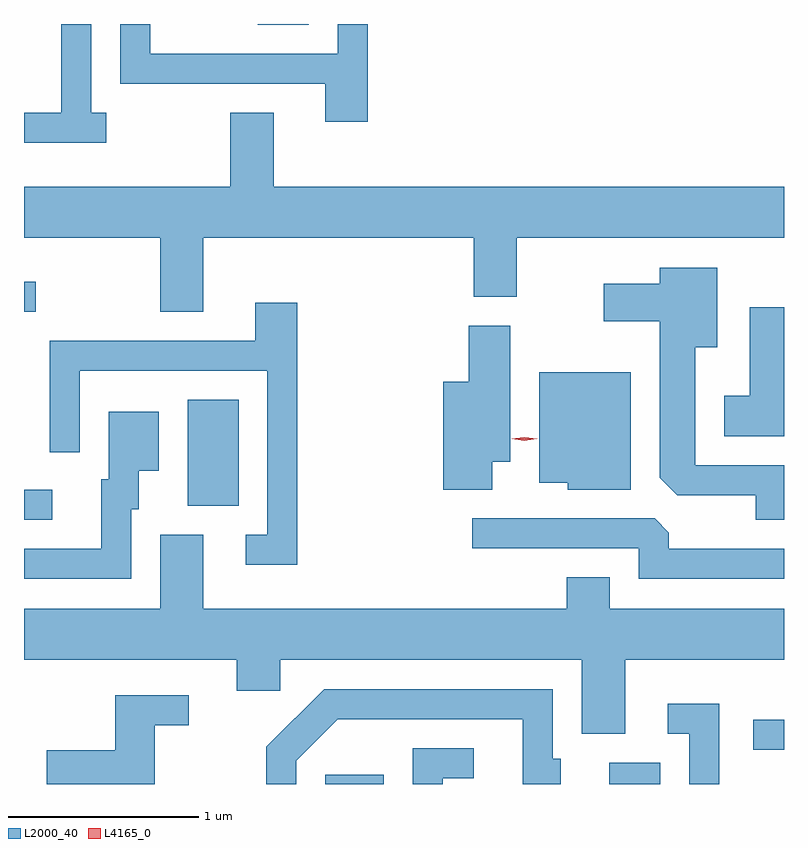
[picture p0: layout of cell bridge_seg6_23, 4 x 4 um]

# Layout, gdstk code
import gdstk
lib = gdstk.Library(unit=1e-6, precision=1e-09)
def R(c, l, rs):  # rectangles x0, y0, x1, y1
    for r in rs: c.add(gdstk.rectangle(r[:2], r[2:], *l))
def P(c, l, *ps):  # polygons
    for p in ps: c.add(gdstk.Polygon(p, *l))
L2000_40 = (2000, 40)
L4165_0 = (4165, 0)

bridge_seg6_23 = lib.new_cell('bridge_seg6_23')
R(bridge_seg6_23, L2000_40, [(1769.651,1640.401,1769.959,1640.449), (1771.146,1640.401,1771.414,1640.514), (1771.903,1640.581,1772.065,1640.739), (1768.065,1641.791,1768.213,1641.949), (1768.926,1641.866,1769.194,1642.424), (1768.065,1642.886,1768.128,1643.044), (1769.296,1644.396,1769.564,1644.401)])
P(bridge_seg6_23, L2000_40, [(1768.498,1643.934),(1768.419,1643.934),(1768.419,1644.401),(1768.261,1644.401),(1768.261,1643.934),(1768.065,1643.934),(1768.065,1643.776),(1768.498,1643.776)],
  [(1769.874,1644.401),(1769.716,1644.401),(1769.716,1644.244),(1768.729,1644.244),(1768.729,1644.401),(1768.571,1644.401),(1768.571,1644.086),(1769.651,1644.086),(1769.651,1643.886),(1769.874,1643.886)],
  [(1769.009,1643.276),(1770.431,1643.276),(1770.431,1642.966),(1770.659,1642.966),(1770.659,1643.276),(1772.065,1643.276),(1772.065,1643.544),(1769.379,1643.544),(1769.379,1643.934),(1769.151,1643.934),(1769.151,1643.544),(1768.065,1643.544),(1768.065,1643.276),(1768.781,1643.276),(1768.781,1642.886),(1769.009,1642.886)],
  [(1772.065,1642.079),(1771.599,1642.079),(1771.599,1642.701),(1771.714,1642.701),(1771.714,1643.119),(1771.411,1643.119),(1771.411,1643.034),(1771.116,1643.034),(1771.116,1642.836),(1771.411,1642.836),(1771.411,1642.012),(1771.502,1641.921),(1771.916,1641.921),(1771.916,1641.791),(1772.065,1641.791)],
  [(1769.504,1642.934),(1769.281,1642.934),(1769.281,1642.734),(1768.201,1642.734),(1768.201,1642.148),(1768.359,1642.148),(1768.359,1642.576),(1769.346,1642.576),(1769.346,1641.714),(1769.233,1641.714),(1769.233,1641.556),(1769.504,1641.556)],
  [(1772.065,1642.909),(1771.886,1642.909),(1771.886,1642.444),(1771.751,1642.444),(1771.751,1642.231),(1772.065,1642.231)],
  [(1770.529,1642.096),(1770.624,1642.096),(1770.624,1642.814),(1770.406,1642.814),(1770.406,1642.519),(1770.271,1642.519),(1770.271,1641.951),(1770.529,1641.951)],
  [(1771.259,1642.569),(1770.776,1642.569),(1770.776,1641.986),(1770.926,1641.986),(1770.926,1641.951),(1771.259,1641.951)],
  [(1768.629,1641.846),(1768.669,1641.846),(1768.669,1642.051),(1768.774,1642.051),(1768.774,1642.359),(1768.511,1642.359),(1768.511,1642.004),(1768.471,1642.004),(1768.471,1641.639),(1768.065,1641.639),(1768.065,1641.481),(1768.629,1641.481)],
  [(1772.065,1641.639),(1771.459,1641.639),(1771.459,1641.724),(1771.384,1641.799),(1770.423,1641.799),(1770.423,1641.641),(1771.301,1641.641),(1771.301,1641.481),(1772.065,1641.481)],
  [(1769.186,1640.891),(1769.414,1640.891),(1769.414,1641.056),(1771.001,1641.056),(1771.001,1640.666),(1771.229,1640.666),(1771.229,1641.056),(1772.065,1641.056),(1772.065,1641.324),(1771.149,1641.324),(1771.149,1641.489),(1770.921,1641.489),(1770.921,1641.324),(1769.009,1641.324),(1769.009,1641.714),(1768.781,1641.714),(1768.781,1641.324),(1768.065,1641.324),(1768.065,1641.056),(1769.186,1641.056)],
  [(1769.499,1640.524),(1769.717,1640.741),(1770.691,1640.741),(1770.691,1640.401),(1770.889,1640.401),(1770.889,1640.534),(1770.849,1640.534),(1770.849,1640.899),(1769.644,1640.899),(1769.341,1640.597),(1769.341,1640.401),(1769.499,1640.401)],
  [(1768.754,1640.711),(1768.933,1640.711),(1768.933,1640.869),(1768.546,1640.869),(1768.546,1640.579),(1768.186,1640.579),(1768.186,1640.401),(1768.754,1640.401)],
  [(1771.724,1640.824),(1771.453,1640.824),(1771.453,1640.666),(1771.566,1640.666),(1771.566,1640.401),(1771.724,1640.401)],
  [(1770.269,1640.431),(1770.433,1640.431),(1770.433,1640.589),(1770.111,1640.589),(1770.111,1640.401),(1770.269,1640.401)])
P(bridge_seg6_23, L4165_0, [(1770.699,1642.207),(1770.633,1642.217),(1770.633,1642.217),(1770.633,1642.218),(1770.699,1642.227),(1770.765,1642.218),(1770.765,1642.217),(1770.765,1642.217)])

lib.write_gds('bridge_seg6_23.gds')
